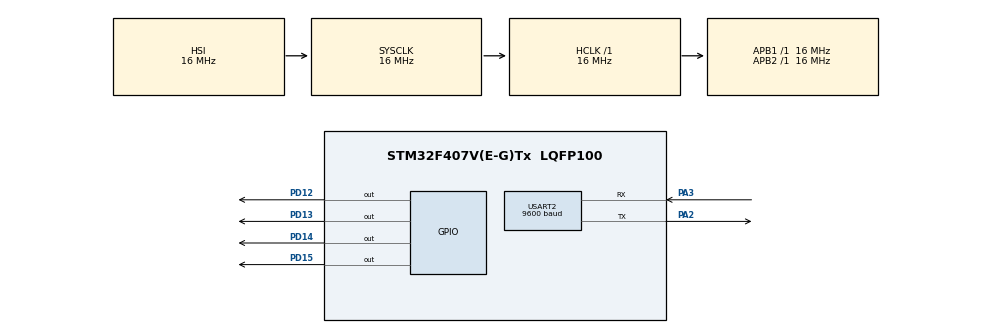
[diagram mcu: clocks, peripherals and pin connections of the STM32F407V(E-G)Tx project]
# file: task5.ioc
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Dma.Request0=USART2_RX
Dma.Request1=USART2_TX
Dma.USART2_RX.0.Direction=DMA_PERIPH_TO_MEMORY
Dma.USART2_RX.0.FIFOMode=DMA_FIFOMODE_DISABLE
Dma.USART2_RX.0.Instance=DMA1_Stream5
Dma.USART2_RX.0.MemDataAlignment=DMA_MDATAALIGN_BYTE
Dma.USART2_RX.0.MemInc=DMA_MINC_ENABLE
Dma.USART2_RX.0.Mode=DMA_NORMAL
Dma.USART2_RX.0.PeriphDataAlignment=DMA_PDATAALIGN_BYTE
Dma.USART2_RX.0.PeriphInc=DMA_PINC_DISABLE
Dma.USART2_RX.0.Priority=DMA_PRIORITY_LOW
Dma.USART2_TX.1.Direction=DMA_MEMORY_TO_PERIPH
Dma.USART2_TX.1.FIFOMode=DMA_FIFOMODE_DISABLE
Dma.USART2_TX.1.Instance=DMA1_Stream6
Dma.USART2_TX.1.MemDataAlignment=DMA_MDATAALIGN_BYTE
Dma.USART2_TX.1.MemInc=DMA_MINC_ENABLE
Dma.USART2_TX.1.Mode=DMA_NORMAL
Dma.USART2_TX.1.PeriphDataAlignment=DMA_PDATAALIGN_BYTE
Dma.USART2_TX.1.PeriphInc=DMA_PINC_DISABLE
Dma.USART2_TX.1.Priority=DMA_PRIORITY_LOW
FREERTOS.Tasks01=task1,24,128,taskFunction1,Default,NULL,Dynamic,NULL,NULL;task2,8,128,taskFunction2,Default,NULL,Dynamic,NULL,NULL
Mcu.Family=STM32F4
Mcu.Name=STM32F407V(E-G)Tx
Mcu.Package=LQFP100
NVIC.DMA1_Stream5_IRQn=true\:5\:0\:false\:false\:true\:true\:false\:true\:true
NVIC.DMA1_Stream6_IRQn=true\:5\:0\:false\:false\:true\:true\:false\:true\:true
NVIC.FLASH_IRQn=true\:5\:0\:false\:false\:true\:true\:true\:true\:true
NVIC.FPU_IRQn=true\:5\:0\:false\:false\:true\:true\:true\:false\:true
NVIC.PVD_IRQn=true\:5\:0\:false\:false\:true\:true\:true\:true\:true
NVIC.PriorityGroup=NVIC_PRIORITYGROUP_4
NVIC.RCC_IRQn=true\:5\:0\:false\:false\:true\:true\:true\:false\:true
NVIC.TIM7_IRQn=true\:15\:0\:false\:false\:true\:false\:false\:true\:true
NVIC.TimeBase=TIM7_IRQn
NVIC.TimeBaseIP=TIM7
NVIC.USART2_IRQn=true\:5\:0\:false\:false\:true\:true\:true\:true\:true
PA2.Mode=Asynchronous
PA2.Signal=USART2_TX
PA3.Mode=Asynchronous
PA3.Signal=USART2_RX
PD12.Signal=GPIO_Output
PD13.Signal=GPIO_Output
PD14.Signal=GPIO_Output
PD15.Signal=GPIO_Output
ProjectManager.HeapSize=0x200
ProjectManager.StackSize=0x400
ProjectManager.TargetToolchain=STM32CubeIDE
RCC.AHBFreq_Value=16000000
RCC.APB1Freq_Value=16000000
RCC.APB2Freq_Value=16000000
RCC.CortexFreq_Value=16000000
RCC.HSE_VALUE=25000000
RCC.HSI_VALUE=16000000
RCC.LSE_VALUE=32768
RCC.SYSCLKFreq_VALUE=16000000
RCC.VCOOutputFreq_Value=192000000
USART2.BaudRate=9600
USART2.VirtualMode=VM_ASYNC
VP_CRC_VS_CRC.Mode=CRC_Activate
VP_FREERTOS_VS_CMSIS_V2.Mode=CMSIS_V2
VP_SYS_VS_tim7.Mode=TIM7
board=custom

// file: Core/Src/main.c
/* USER CODE BEGIN Header */
/**
  ******************************************************************************
  * @file           : main.c
  * @brief          : Main program body
  ******************************************************************************
  * @attention
  *
  * Copyright (c) 2025 STMicroelectronics.
  * All rights reserved.
  *
  * This software is licensed under terms that can be found in the LICENSE file
  * in the root directory of this software component.
  * If no LICENSE file comes with this software, it is provided AS-IS.
  *
  ******************************************************************************
  */
/* USER CODE END Header */
#include "main.h"
#include "cmsis_os.h"

/* USER CODE BEGIN Includes */
#include <string.h>
#include <stdio.h>
#include "task.h"
#include <stdlib.h>
#include <stdbool.h>

/* USER CODE END Includes */

CRC_HandleTypeDef hcrc;

UART_HandleTypeDef huart2;
DMA_HandleTypeDef hdma_usart2_rx;
DMA_HandleTypeDef hdma_usart2_tx;

/* Definitions for task1 */
osThreadId_t task1Handle;
const osThreadAttr_t task1_attributes = {
  .name = "task1",
  .stack_size = 128 * 4,
  .priority = (osPriority_t) osPriorityNormal,
};
/* Definitions for task2 */
osThreadId_t task2Handle;
const osThreadAttr_t task2_attributes = {
  .name = "task2",
  .stack_size = 128 * 4,
  .priority = (osPriority_t) osPriorityLow,
};
/* USER CODE BEGIN PV */

uint8_t RxData[30];
int indx= 0;
uint8_t CalculatedCrc;
uint8_t ReceiveCrc ;
uint16_t Size;
char tempBuffer[30];
/* USER CODE END PV */

void SystemClock_Config(void);
static void MX_GPIO_Init(void);
static void MX_DMA_Init(void);
static void MX_USART2_UART_Init(void);
static void MX_CRC_Init(void);
void taskFunction1(void *argument);
void taskFunction2(void *argument);

/* USER CODE BEGIN 0 */

void ClearBuffers(void)
{
    memset(RxData,0, sizeof(RxData));
    memset(tempBuffer, 0, sizeof(tempBuffer));
    indx= 0;
}

uint8_t calculate_crc8_dvb_s2(uint8_t *data, uint16_t length)
{
    uint8_t crc = 0x00;
    for (uint16_t i = 0; i < length; i++)
    {
        crc ^= data[i];
        for (uint8_t j = 0; j < 8; j++)
        {
            if (crc & 0x80){
                crc = (crc << 1) ^ 0xD5;}
            else{
                crc <<= 1;}
        }
    }
    return crc;
}
void HAL_UARTEx_RxEventCallback(UART_HandleTypeDef *huart, uint16_t Size)
{
    indx= Size;
    RxData[Size] = '\0';
    char tempBuffer[30];
    strncpy(tempBuffer,(char*)RxData, sizeof(tempBuffer));
    tempBuffer[sizeof(tempBuffer)-1] = '\0';
    char *sbt = strtok(tempBuffer, ":");       // "LED"
    char *kmt_crc = strtok(NULL, ":");         // "ON*7A"
    char *kmt = strtok(kmt_crc, "*");          // "ON"
    char *crc = strtok(NULL, "*");             // "7A"
    if( strcmp(sbt, "LED")== 0 )
    {
        char msg[30];
        snprintf(msg, sizeof(msg), "LED:%s", kmt);
        uint8_t CalculatedCrc = calculate_crc8_dvb_s2((uint8_t*)msg, strlen(msg));
        if(CalculatedCrc== crc[0])
        {
           if(strcmp(kmt,  "ON")== 0)
           {
               BaseType_t xHigherPriorityTaskWoken = pdFALSE;
               vTaskNotifyGiveFromISR(task1Handle, &xHigherPriorityTaskWoken);
               portYIELD_FROM_ISR(xHigherPriorityTaskWoken);
              }
              else if(strcmp(kmt,  "OFF")== 0 )
              {
                 BaseType_t xHigherPriorityTaskWoken = pdFALSE;
                 vTaskNotifyGiveFromISR(task2Handle, &xHigherPriorityTaskWoken);
                 portYIELD_FROM_ISR(xHigherPriorityTaskWoken);
              }
        }
     ClearBuffers();
     HAL_UARTEx_ReceiveToIdle_DMA(&huart2, RxData, sizeof(RxData));
    }
}

/* USER CODE END 0 */

int main(void)
{

  /* USER CODE BEGIN 1 */
//void ClearBuffers(void)
//{
//    memset(RxData,0, sizeof(RxData));
//    indx= 0;
//
//}
  /* USER CODE END 1 */

  /* MCU Configuration--------------------------------------------------------*/

  /* Reset of all peripherals, Initializes the Flash interface and the Systick. */
  HAL_Init();

  /* Configure the system clock */
  SystemClock_Config();

  /* Initialize all configured peripherals */
  MX_GPIO_Init();
  MX_DMA_Init();
  MX_USART2_UART_Init();
  MX_CRC_Init();
  /* USER CODE BEGIN 2 */
  HAL_UARTEx_ReceiveToIdle_DMA(&huart2, RxData, sizeof(RxData));

  /* USER CODE END 2 */

  /* Init scheduler */
  osKernelInitialize();

  /* Create the thread(s) */
  /* creation of task1 */
  task1Handle = osThreadNew(taskFunction1, NULL, &task1_attributes);

  /* creation of task2 */
  task2Handle = osThreadNew(taskFunction2, NULL, &task2_attributes);

  /* Start scheduler */
  osKernelStart();

  /* We should never get here as control is now taken by the scheduler */

  /* Infinite loop */
  while (1)
  {

  }
}

void SystemClock_Config(void)
{
  RCC_OscInitTypeDef RCC_OscInitStruct = {0};
  RCC_ClkInitTypeDef RCC_ClkInitStruct = {0};

  /** Configure the main internal regulator output voltage
  */
  __HAL_RCC_PWR_CLK_ENABLE();
  __HAL_PWR_VOLTAGESCALING_CONFIG(PWR_REGULATOR_VOLTAGE_SCALE1);

  /** Initializes the RCC Oscillators according to the specified parameters
  * in the RCC_OscInitTypeDef structure.
  */
  RCC_OscInitStruct.OscillatorType = RCC_OSCILLATORTYPE_HSI;
  RCC_OscInitStruct.HSIState = RCC_HSI_ON;
  RCC_OscInitStruct.HSICalibrationValue = RCC_HSICALIBRATION_DEFAULT;
  RCC_OscInitStruct.PLL.PLLState = RCC_PLL_NONE;
  if (HAL_RCC_OscConfig(&RCC_OscInitStruct) != HAL_OK)
  {
    Error_Handler();
  }

  /** Initializes the CPU, AHB and APB buses clocks
  */
  RCC_ClkInitStruct.ClockType = RCC_CLOCKTYPE_HCLK|RCC_CLOCKTYPE_SYSCLK
                              |RCC_CLOCKTYPE_PCLK1|RCC_CLOCKTYPE_PCLK2;
  RCC_ClkInitStruct.SYSCLKSource = RCC_SYSCLKSOURCE_HSI;
  RCC_ClkInitStruct.AHBCLKDivider = RCC_SYSCLK_DIV1;
  RCC_ClkInitStruct.APB1CLKDivider = RCC_HCLK_DIV1;
  RCC_ClkInitStruct.APB2CLKDivider = RCC_HCLK_DIV1;

  if (HAL_RCC_ClockConfig(&RCC_ClkInitStruct, FLASH_LATENCY_0) != HAL_OK)
  {
    Error_Handler();
  }
}

static void MX_CRC_Init(void)
{

  hcrc.Instance = CRC;
  if (HAL_CRC_Init(&hcrc) != HAL_OK)
  {
    Error_Handler();
  }

}

static void MX_USART2_UART_Init(void)
{

  huart2.Instance = USART2;
  huart2.Init.BaudRate = 9600;
  huart2.Init.WordLength = UART_WORDLENGTH_8B;
  huart2.Init.StopBits = UART_STOPBITS_1;
  huart2.Init.Parity = UART_PARITY_NONE;
  huart2.Init.Mode = UART_MODE_TX_RX;
  huart2.Init.HwFlowCtl = UART_HWCONTROL_NONE;
  huart2.Init.OverSampling = UART_OVERSAMPLING_16;
  if (HAL_UART_Init(&huart2) != HAL_OK)
  {
    Error_Handler();
  }

}

static void MX_DMA_Init(void)
{

  /* DMA controller clock enable */
  __HAL_RCC_DMA1_CLK_ENABLE();

  /* DMA interrupt init */
  /* DMA1_Stream5_IRQn interrupt configuration */
  HAL_NVIC_SetPriority(DMA1_Stream5_IRQn, 5, 0);
  HAL_NVIC_EnableIRQ(DMA1_Stream5_IRQn);
  /* DMA1_Stream6_IRQn interrupt configuration */
  HAL_NVIC_SetPriority(DMA1_Stream6_IRQn, 5, 0);
  HAL_NVIC_EnableIRQ(DMA1_Stream6_IRQn);

}

static void MX_GPIO_Init(void)
{
  GPIO_InitTypeDef GPIO_InitStruct = {0};

  /* GPIO Ports Clock Enable */
  __HAL_RCC_GPIOA_CLK_ENABLE();
  __HAL_RCC_GPIOD_CLK_ENABLE();

  /*Configure GPIO pin Output Level */
  HAL_GPIO_WritePin(GPIOD, GPIO_PIN_12|GPIO_PIN_13|GPIO_PIN_14|GPIO_PIN_15, GPIO_PIN_RESET);

  /*Configure GPIO pins : PD12 PD13 PD14 PD15 */
  GPIO_InitStruct.Pin = GPIO_PIN_12|GPIO_PIN_13|GPIO_PIN_14|GPIO_PIN_15;
  GPIO_InitStruct.Mode = GPIO_MODE_OUTPUT_PP;
  GPIO_InitStruct.Pull = GPIO_NOPULL;
  GPIO_InitStruct.Speed = GPIO_SPEED_FREQ_LOW;
  HAL_GPIO_Init(GPIOD, &GPIO_InitStruct);

}

void taskFunction1(void *argument)
{
  /* USER CODE BEGIN 5 */
  /* Infinite loop */

  for(;;)
  {
      if( ulTaskNotifyTake(pdTRUE, portMAX_DELAY) !=0)
      {
          HAL_GPIO_WritePin(GPIOD, GPIO_PIN_12, GPIO_PIN_SET);
      }
  }
  /* USER CODE END 5 */
}

void taskFunction2(void *argument)
{
  /* USER CODE BEGIN taskFunction2 */
  /* Infinite loop */

  for(;;)
  {
      if( ulTaskNotifyTake(pdTRUE, portMAX_DELAY) != 0)
      {
          HAL_GPIO_WritePin(GPIOD, GPIO_PIN_12, GPIO_PIN_RESET);
      }
  }
  /* USER CODE END taskFunction2 */
}

void HAL_TIM_PeriodElapsedCallback(TIM_HandleTypeDef *htim)
{
  if (htim->Instance == TIM7)
  {
    HAL_IncTick();
  }
}

void Error_Handler(void)
{
  __disable_irq();
  while (1)
  {
  }
}
